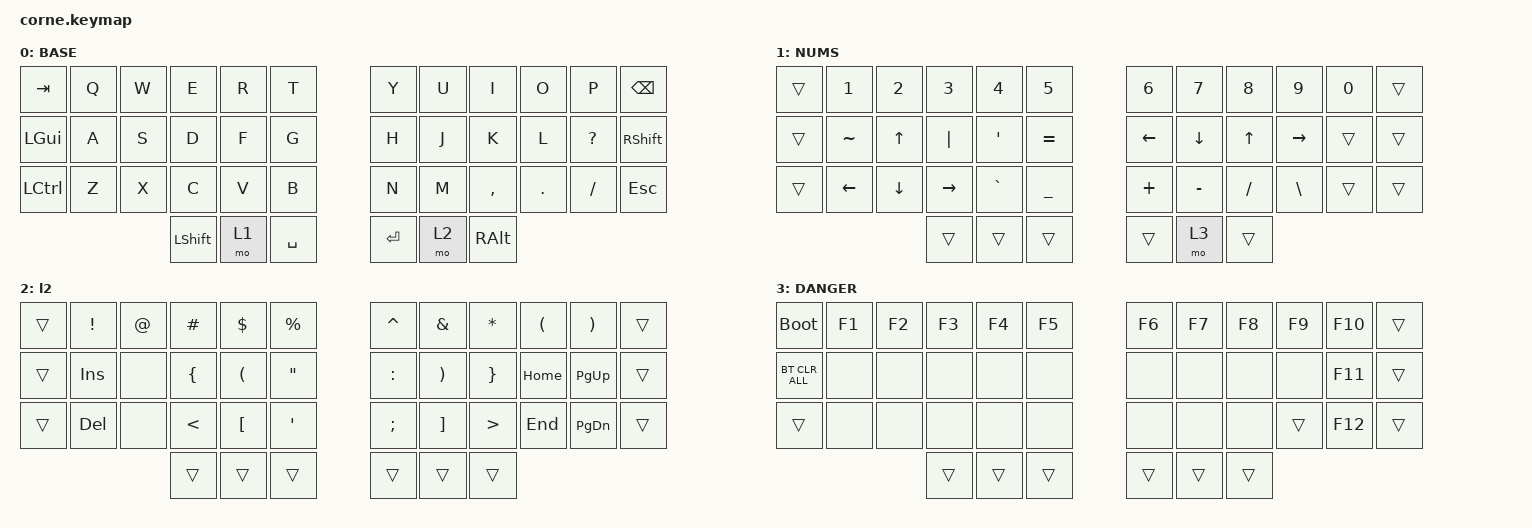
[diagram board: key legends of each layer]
#include <behaviors.dtsi>
#include <dt-bindings/zmk/bt.h>
#include <dt-bindings/zmk/keys.h>

/ {
    combos { compatible = "zmk,combos"; };

    keymap {
        compatible = "zmk,keymap";

        l0 {
            display-name = "BASE";

            // -----------------------------------------------------------------------------------------
            // |  TAB |  Q  |  W  |  E  |  R  |  T  |   |  Y  |  U   |  I  |  O  |  P  | BKSP |
            // | CTRL |  A  |  S  |  D  |  F  |  G  |   |  H  |  J   |  K  |  L  |  ;  |  '   |
            // | SHFT |  Z  |  X  |  C  |  V  |  B  |   |  N  |  M   |  ,  |  .  |  /  | ESC  |
            //                    | GUI | LWR | SPC |   | ENT | RSE  | ALT |

            bindings = <
&kp TAB       &kp Q  &kp W  &kp E      &kp R  &kp T        &kp Y      &kp U  &kp I          &kp O    &kp P         &kp BACKSPACE
&kp LEFT_GUI  &kp A  &kp S  &kp D      &kp F  &kp G        &kp H      &kp J  &kp K          &kp L    &kp QUESTION  &kp RSHFT
&kp LCTRL     &kp Z  &kp X  &kp C      &kp V  &kp B        &kp N      &kp M  &kp COMMA      &kp DOT  &kp FSLH      &kp ESC
                            &kp LSHFT  &mo 1  &kp SPACE    &kp ENTER  &mo 2  &kp RIGHT_ALT
            >;
        };

        l1 {
            // -----------------------------------------------------------------------------------------
            // |  TAB |  !  |  @  |  #  |  $  |  %  |   |  ^  |  &  |  *  |  (  |  )  | BKSP |
            // | CTRL |     |     |     |     |     |   |  -  |  =  |  [  |  ]  |  \  |  `   |
            // | SHFT |     |     |     |     |     |   |  _  |  +  |  {  |  }  | "|" |  ~   |
            //                    | GUI |     | SPC |   | ENT |     | ALT |

            display-name = "NUMS";
            bindings = <
&trans  &kp NUMBER_1  &kp NUMBER_2  &kp NUMBER_3  &kp NUMBER_4      &kp NUMBER_5    &kp NUMBER_6  &kp NUMBER_7  &kp NUMBER_8  &kp NUMBER_9   &kp NUMBER_0  &trans
&trans  &kp TILDE     &kp UP        &kp PIPE      &kp SINGLE_QUOTE  &kp EQUAL       &kp LEFT      &kp DOWN      &kp UP        &kp RIGHT      &trans        &trans
&trans  &kp LEFT      &kp DOWN      &kp RIGHT     &kp GRAVE         &kp UNDER       &kp PLUS      &kp MINUS     &kp SLASH     &kp BACKSLASH  &trans        &trans
                                    &trans        &trans            &trans          &trans        &mo 3         &trans
            >;
        };

        l2 {
            bindings = <
&trans  &kp EXCLAMATION  &kp AT_SIGN  &kp HASH        &kp DOLLAR            &kp PERCENT          &kp CARET      &kp AMPERSAND          &kp ASTERISK      &kp LPAR  &kp RPAR       &trans
&trans  &kp INS          &none        &kp LEFT_BRACE  &kp LEFT_PARENTHESIS  &kp DOUBLE_QUOTES    &kp COLON      &kp RIGHT_PARENTHESIS  &kp RIGHT_BRACE   &kp HOME  &kp PAGE_UP    &trans
&trans  &kp DEL          &none        &kp LT          &kp LEFT_BRACKET      &kp SINGLE_QUOTE     &kp SEMICOLON  &kp RIGHT_BRACKET      &kp GREATER_THAN  &kp END   &kp PAGE_DOWN  &trans
                                      &trans          &trans                &trans               &trans         &trans                 &trans
            >;
        };

        l3 {
            // -----------------------------------------------------------------------------------------
            // |  TAB |  1  |  2  |  3  |  4  |  5  |   |  6  |  7  |  8  |  9  |  0  | BKSP |
            // | BTCLR| BT1 | BT2 | BT3 | BT4 | BT5 |   | LFT | DWN |  UP | RGT |     |      |
            // | SHFT |     |     |     |     |     |   |     |     |     |     |     |      |
            //                    | GUI |     | SPC |   | ENT |     | ALT |

            display-name = "DANGER";
            bindings = <
&bootloader     &kp F1  &kp F2  &kp F3  &kp F4  &kp F5    &kp F6  &kp F7  &kp F8  &kp F9  &kp F10  &trans
&bt BT_CLR_ALL  &none   &none   &none   &none   &none     &none   &none   &none   &none   &kp F11  &trans
&trans          &none   &none   &none   &none   &none     &none   &none   &none   &trans  &kp F12  &trans
                                &trans  &trans  &trans    &trans  &trans  &trans
            >;
        };
    };
};
